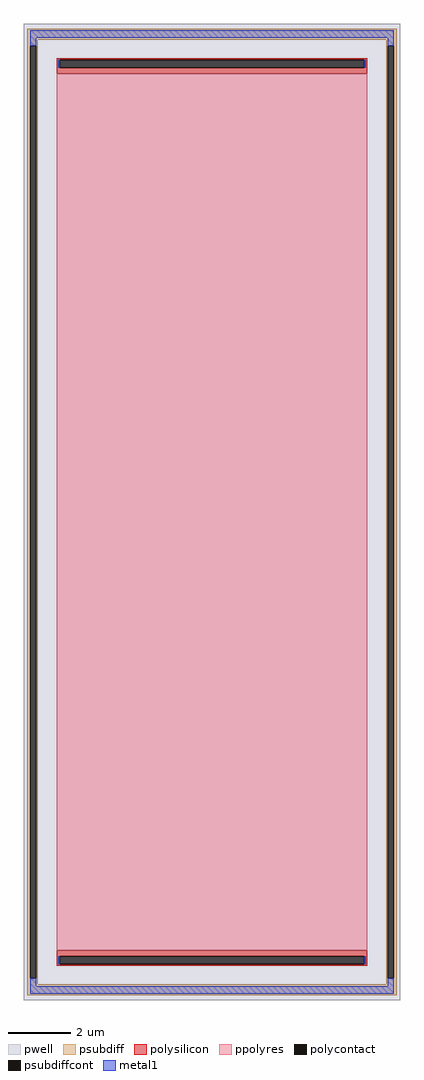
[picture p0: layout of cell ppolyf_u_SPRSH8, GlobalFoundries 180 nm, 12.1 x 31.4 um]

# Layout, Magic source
magic
tech gf180mcuD
<< pwell >>
rect -121 -314 121 314
<< psubdiff >>
rect -119 304 119 311
rect -119 300 -112 304
rect -119 -300 -117 300
rect -113 -300 -112 300
rect 112 300 119 304
rect -119 -304 -112 -300
rect 112 -300 113 300
rect 117 -300 119 300
rect 112 -304 119 -300
rect -119 -311 119 -304
<< psubdiffcont >>
rect -117 -300 -113 300
rect 113 -300 117 300
<< polysilicon >>
rect -100 291 100 292
rect -100 286 -98 291
rect 98 286 100 291
rect -100 282 100 286
rect -100 -286 100 -282
rect -100 -291 -98 -286
rect 98 -291 100 -286
rect -100 -292 100 -291
<< polycontact >>
rect -98 286 98 291
rect -98 -291 98 -286
<< ppolyres >>
rect -100 -282 100 282
<< metal1 >>
rect -117 305 117 310
rect -117 300 -113 305
rect 113 300 117 305
rect -99 286 -98 291
rect 98 286 99 291
rect -99 -291 -98 -286
rect 98 -291 99 -286
rect -117 -305 -113 -300
rect 113 -305 117 -300
rect -117 -310 117 -305
<< properties >>
string FIXED_BBOX -115 -308 115 308
string gencell ppolyf_u
string library gf180mcu
string parameters w 10.0 l 28.229 m 1 nx 1 wmin 0.80 lmin 1.00 class resistor rho 315 val 894.311 dummy 0 dw 0.057 term 0.0 sterm 0.0 caplen 0.4 snake 0 guard 1 guard_type pwell glc 1 grc 1 gtc 0 gbc 0 roverlap 0 endcov 100 full_metal 1
<< end >>
